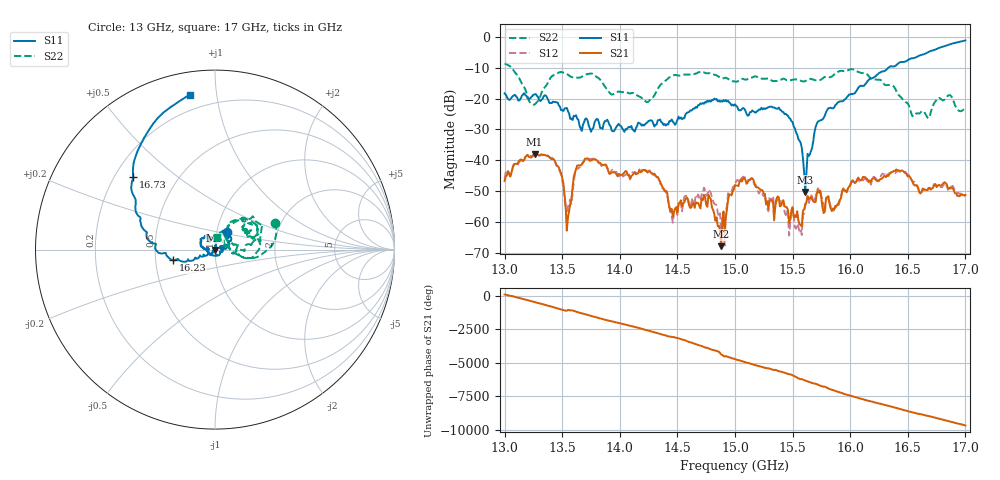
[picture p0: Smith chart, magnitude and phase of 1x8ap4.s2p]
!Keysight Technologies,P9374A,MY57211807,A.19.30.04
!Date: Friday, May 08, 2026 14:32:32
!Correction: S11(C  2-Port  )
!S21(C  2-Port  )
!S12(C  2-Port  )
!S22(C  2-Port  )
!S2P File: Measurements: S11, S21, S12, S22:
# Hz S  dB  R 50
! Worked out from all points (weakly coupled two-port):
!   401 points, 13 GHz to 17 GHz, reference 50 ohm
!   highest |S21| = -37.99 dB at 13.26 GHz (marker M1); lowest = -67.9 dB at 14.88 GHz (marker M2)
!   lowest |S11| = -50.3 dB at 15.61 GHz (marker M3), VSWR 1.01, Z = 49.8 - j0.218 ohm
!   |S11| at or under -10 dB: start of sweep to 16.33 GHz
!   |S22| runs from -26.4 to -8.7 dB; largest |S21 - S12| = 0.0011
!   S11 on the Smith chart (normalised r, x): 13 GHz: 1.12, +0.23; 16.23 GHz: 0.62, -0.08; 16.73 GHz: 0.27, +0.36; 17 GHz: 0.12, +0.84
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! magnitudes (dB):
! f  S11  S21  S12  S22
! 13 GHz  -18.3  -46.7  -46.0  -8.7
! 13.26 GHz  -18.6  -38.0  -37.8  -22.0
! 13.45 GHz  -21.2  -41.5  -41.8  -12.0
! 13.55 GHz  -24.1  -58.7  -55.0  -12.3
! 13.62 GHz  -25.4  -42.8  -43.3  -13.2
! 13.67 GHz  -30.5  -41.4  -41.2  -12.9
! 14.24 GHz  -27.7  -44.0  -43.9  -21.2
! 14.34 GHz  -27.0  -46.2  -46.3  -16.2
! 14.46 GHz  -27.4  -58.4  -60.3  -12.6
! 14.75 GHz  -21.3  -54.4  -51.4  -11.8
! 14.88 GHz  -20.8  -67.9  -63.8  -13.4
! 15 GHz  -21.9  -48.1  -48.0  -14.5
! 15.44 GHz  -25.0  -55.1  -57.8  -13.9
! 15.56 GHz  -33.7  -60.8  -63.1  -14.1
! 15.61 GHz  -50.3  -54.6  -54.2  -14.4
! 15.67 GHz  -36.0  -52.7  -51.9  -13.8
! 15.81 GHz  -23.2  -51.7  -51.8  -13.1
! 16.23 GHz  -12.4  -46.7  -46.3  -13.9
! 16.34 GHz  -9.8  -44.5  -44.2  -15.7
! 16.55 GHz  -6.9  -47.9  -47.2  -25.8
! 16.73 GHz  -4.3  -47.8  -47.9  -21.4
! 17 GHz  -1.2  -51.3  -51.8  -23.1
